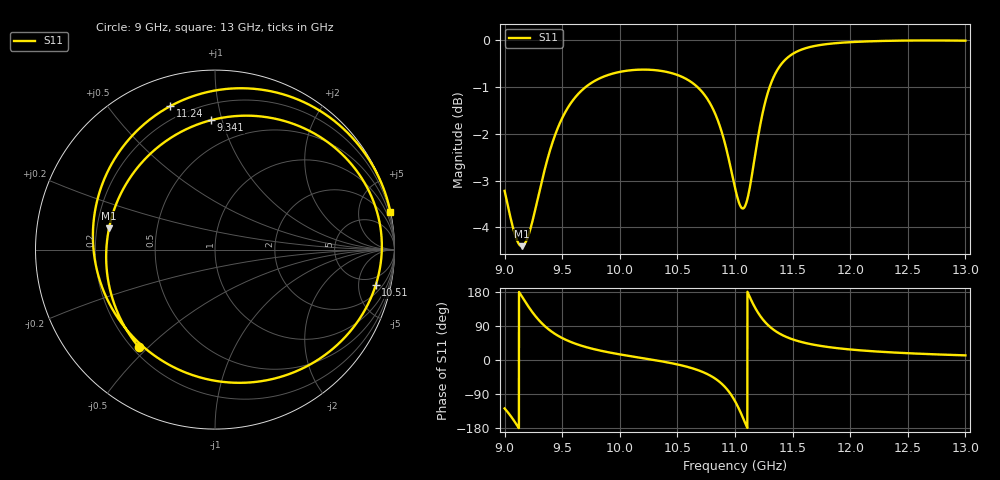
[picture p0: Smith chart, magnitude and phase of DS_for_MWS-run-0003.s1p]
! TOUCHSTONE file generated by CST DESIGN STUDIO
! Date and time: Tue Feb  4 13:35:26 2025
! Project name: C:\Work\MatlabApps\UnitCellOptimizationMatlab\CST\unitcell.cst
! Tree item: Tasks\Sweep1\SPara1\S-Parameters
! Header version: 2024
! Port assignment regex: !\s*Touchstone port\s*([0-9]+)\s*=\s*(CST MWS port|CST DES external port|CST DES block port)\s*(.+)\s* \(\"(.*)\"\)(\s*mode\s*([0-9]+))?.*
! Touchstone port assignment:
! Touchstone port 1 = CST DES external port 1 ("")
# GHz S MA R 50
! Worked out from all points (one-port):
!   4001 points, 9 GHz to 13 GHz, reference 50 ohm
!   lowest |S11| = -4.4 dB at 9.148 GHz (marker M1), VSWR 4.03, Z = 12.5 + j4.7 ohm
!   |S11| at or under -10 dB: nowhere
!   S11 on the Smith chart (normalised r, x): 9 GHz: 0.23, -0.47; 9.341 GHz: 0.31, +0.92; 10.51 GHz: 3.18, -7.91; 11.24 GHz: 0.14, +0.73; 13 GHz: 0.04, +9.34
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9  0.6902 -127.8
9.083  0.6237 -160.8
9.148  0.6023 168.5
9.247  0.6445 123.8
9.341  0.7217 91.7
9.5  0.8257 57.9
9.707  0.892 34.1
10  0.9252 14.8
10.5  0.9182 -11.7
10.511  0.9172 -12.5
10.683  0.8892 -27.3
10.807  0.8454 -45.0
10.869  0.8092 -58.5
10.926  0.7643 -75.7
11  0.6957 -108.5
11.033  0.6713 -128.1
11.066  0.6609 -150.2
11.116  0.6835 174.4
11.147  0.7175 154.0
11.182  0.7639 133.9
11.241  0.8373 107.3
11.295  0.887 89.8
11.363  0.9276 74.0
11.5  0.967 54.5
11.699  0.9866 39.4
12  0.9955 27.8
12.5  0.9995 17.9
13  0.9991 12.2
